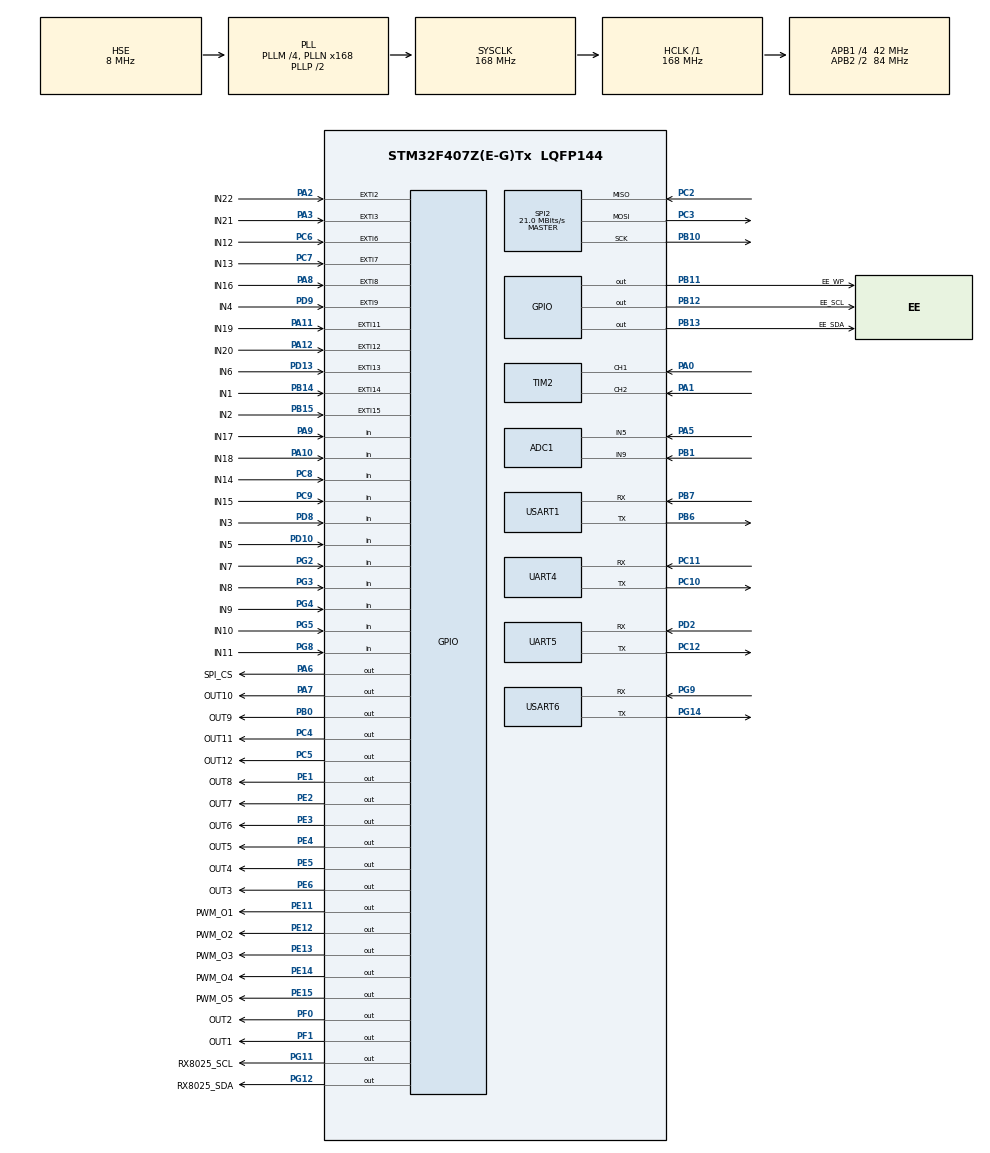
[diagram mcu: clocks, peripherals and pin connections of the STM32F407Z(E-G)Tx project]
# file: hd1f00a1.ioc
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ADC1.Channel-0\#ChannelRegularConversion=ADC_CHANNEL_5
ADC1.Channel-1\#ChannelRegularConversion=ADC_CHANNEL_9
ADC1.ClockPrescaler=ADC_CLOCK_SYNC_PCLK_DIV8
ADC1.ContinuousConvMode=DISABLE
ADC1.DMAContinuousRequests=ENABLE
ADC1.EOCSelection=ADC_EOC_SEQ_CONV
ADC1.NbrOfConversion=2
ADC1.NbrOfConversionFlag=1
ADC1.Rank-0\#ChannelRegularConversion=1
ADC1.Rank-1\#ChannelRegularConversion=2
ADC1.SamplingTime-0\#ChannelRegularConversion=ADC_SAMPLETIME_480CYCLES
ADC1.SamplingTime-1\#ChannelRegularConversion=ADC_SAMPLETIME_480CYCLES
ADC1.master=1
Dma.ADC1.1.Direction=DMA_PERIPH_TO_MEMORY
Dma.ADC1.1.FIFOMode=DMA_FIFOMODE_DISABLE
Dma.ADC1.1.Instance=DMA2_Stream0
Dma.ADC1.1.MemDataAlignment=DMA_MDATAALIGN_HALFWORD
Dma.ADC1.1.MemInc=DMA_MINC_ENABLE
Dma.ADC1.1.Mode=DMA_NORMAL
Dma.ADC1.1.PeriphDataAlignment=DMA_PDATAALIGN_HALFWORD
Dma.ADC1.1.PeriphInc=DMA_PINC_DISABLE
Dma.ADC1.1.Priority=DMA_PRIORITY_LOW
Dma.Request0=TIM8_UP
Dma.Request1=ADC1
Dma.TIM8_UP.0.Direction=DMA_MEMORY_TO_PERIPH
Dma.TIM8_UP.0.FIFOMode=DMA_FIFOMODE_DISABLE
Dma.TIM8_UP.0.Instance=DMA2_Stream1
Dma.TIM8_UP.0.MemDataAlignment=DMA_MDATAALIGN_WORD
Dma.TIM8_UP.0.MemInc=DMA_MINC_ENABLE
Dma.TIM8_UP.0.Mode=DMA_NORMAL
Dma.TIM8_UP.0.PeriphDataAlignment=DMA_PDATAALIGN_WORD
Dma.TIM8_UP.0.PeriphInc=DMA_PINC_DISABLE
Dma.TIM8_UP.0.Priority=DMA_PRIORITY_LOW
FREERTOS.INCLUDE_uxTaskGetStackHighWaterMark=1
FREERTOS.MEMORY_ALLOCATION=0
FREERTOS.Tasks01=defaultTask,0,128,StartDefaultTask,Default,NULL,Dynamic,NULL,NULL
FREERTOS.configMINIMAL_STACK_SIZE=256
FREERTOS.configTOTAL_HEAP_SIZE=0x8000
FREERTOS.configUSE_PREEMPTION=0
FREERTOS.configUSE_STATS_FORMATTING_FUNCTIONS=1
FREERTOS.configUSE_TRACE_FACILITY=1
IWDG.Prescaler=IWDG_PRESCALER_64
Mcu.Family=STM32F4
Mcu.Name=STM32F407Z(E-G)Tx
Mcu.Package=LQFP144
NVIC.DMA2_Stream0_IRQn=true\:5\:0\:false\:false\:true\:true\:false\:true\:true
NVIC.DMA2_Stream1_IRQn=true\:5\:0\:false\:false\:true\:true\:false\:true\:true
NVIC.EXTI15_10_IRQn=true\:5\:0\:false\:false\:true\:true\:true\:true\:true
NVIC.EXTI2_IRQn=true\:5\:0\:false\:false\:true\:true\:true\:true\:true
NVIC.EXTI3_IRQn=true\:5\:0\:false\:false\:true\:true\:true\:true\:true
NVIC.EXTI9_5_IRQn=true\:5\:0\:false\:false\:true\:true\:true\:true\:true
NVIC.PriorityGroup=NVIC_PRIORITYGROUP_4
NVIC.TIM1_UP_TIM10_IRQn=true\:5\:0\:false\:false\:true\:true\:true\:true\:true
NVIC.TIM2_IRQn=true\:5\:0\:false\:false\:true\:true\:true\:true\:true
NVIC.TIM3_IRQn=true\:5\:0\:false\:false\:true\:true\:true\:true\:true
NVIC.TIM4_IRQn=true\:5\:0\:false\:false\:true\:true\:true\:true\:true
NVIC.UART4_IRQn=true\:5\:0\:false\:false\:true\:true\:true\:true\:true
NVIC.UART5_IRQn=true\:5\:0\:false\:false\:true\:true\:true\:true\:true
NVIC.USART1_IRQn=true\:5\:0\:false\:false\:true\:true\:true\:true\:true
NVIC.USART6_IRQn=true\:5\:0\:false\:false\:true\:true\:true\:true\:true
PA0-WKUP.Signal=S_TIM2_CH1_ETR
PA1.Signal=S_TIM2_CH2
PA10.GPIO_Label=IN18
PA10.Signal=GPIO_Input
PA11.GPIO_Label=IN19
PA11.GPIO_ModeDefaultEXTI=GPIO_MODE_IT_FALLING
PA11.Signal=GPXTI11
PA12.GPIO_Label=IN20
PA12.GPIO_ModeDefaultEXTI=GPIO_MODE_IT_FALLING
PA12.Signal=GPXTI12
PA13.Mode=Serial_Wire
PA13.Signal=SYS_JTMS-SWDIO
PA14.Mode=Serial_Wire
PA14.Signal=SYS_JTCK-SWCLK
PA2.GPIO_Label=IN22
PA2.GPIO_ModeDefaultEXTI=GPIO_MODE_IT_FALLING
PA2.Signal=GPXTI2
PA3.GPIO_Label=IN21
PA3.GPIO_ModeDefaultEXTI=GPIO_MODE_IT_FALLING
PA3.Signal=GPXTI3
PA5.Signal=ADCx_IN5
PA6.GPIO_Label=SPI_CS
PA6.GPIO_Speed=GPIO_SPEED_FREQ_VERY_HIGH
PA6.PinState=GPIO_PIN_SET
PA6.Signal=GPIO_Output
PA7.GPIO_Label=OUT10
PA7.GPIO_Speed=GPIO_SPEED_FREQ_VERY_HIGH
PA7.Signal=GPIO_Output
PA8.GPIO_Label=IN16
PA8.GPIO_ModeDefaultEXTI=GPIO_MODE_IT_FALLING
PA8.Signal=GPXTI8
PA9.GPIO_Label=IN17
PA9.Signal=GPIO_Input
PB0.GPIO_Label=OUT9
PB0.GPIO_Speed=GPIO_SPEED_FREQ_VERY_HIGH
PB0.Signal=GPIO_Output
PB1.Signal=ADCx_IN9
PB10.Mode=Full_Duplex_Master
PB10.Signal=SPI2_SCK
PB11.GPIO_Label=EE_WP
PB11.GPIO_Speed=GPIO_SPEED_FREQ_HIGH
PB11.Signal=GPIO_Output
PB12.GPIO_Label=EE_SCL
PB12.GPIO_ModeDefaultOutputPP=GPIO_MODE_OUTPUT_OD
PB12.GPIO_PuPd=GPIO_PULLUP
PB12.GPIO_Speed=GPIO_SPEED_FREQ_VERY_HIGH
PB12.PinState=GPIO_PIN_SET
PB12.Signal=GPIO_Output
PB13.GPIO_Label=EE_SDA
PB13.GPIO_ModeDefaultOutputPP=GPIO_MODE_OUTPUT_OD
PB13.GPIO_PuPd=GPIO_PULLUP
PB13.GPIO_Speed=GPIO_SPEED_FREQ_VERY_HIGH
PB13.PinState=GPIO_PIN_SET
PB13.Signal=GPIO_Output
PB14.GPIO_Label=IN1
PB14.GPIO_ModeDefaultEXTI=GPIO_MODE_IT_FALLING
PB14.Signal=GPXTI14
PB15.GPIO_Label=IN2
PB15.GPIO_ModeDefaultEXTI=GPIO_MODE_IT_FALLING
PB15.Signal=GPXTI15
PB6.Mode=Asynchronous
PB6.Signal=USART1_TX
PB7.Mode=Asynchronous
PB7.Signal=USART1_RX
PC10.Mode=Asynchronous
PC10.Signal=UART4_TX
PC11.Mode=Asynchronous
PC11.Signal=UART4_RX
PC12.Mode=Asynchronous
PC12.Signal=UART5_TX
PC2.Mode=Full_Duplex_Master
PC2.Signal=SPI2_MISO
PC3.Mode=Full_Duplex_Master
PC3.Signal=SPI2_MOSI
PC4.GPIO_Label=OUT11
PC4.GPIO_Speed=GPIO_SPEED_FREQ_VERY_HIGH
PC4.Signal=GPIO_Output
PC5.GPIO_Label=OUT12
PC5.GPIO_Speed=GPIO_SPEED_FREQ_VERY_HIGH
PC5.Signal=GPIO_Output
PC6.GPIO_Label=IN12
PC6.GPIO_ModeDefaultEXTI=GPIO_MODE_IT_FALLING
PC6.Signal=GPXTI6
PC7.GPIO_Label=IN13
PC7.GPIO_ModeDefaultEXTI=GPIO_MODE_IT_FALLING
PC7.Signal=GPXTI7
PC8.GPIO_Label=IN14
PC8.Signal=GPIO_Input
PC9.GPIO_Label=IN15
PC9.Signal=GPIO_Input
PD10.GPIO_Label=IN5
PD10.Signal=GPIO_Input
PD13.GPIO_Label=IN6
PD13.GPIO_ModeDefaultEXTI=GPIO_MODE_IT_FALLING
PD13.Signal=GPXTI13
PD2.Mode=Asynchronous
PD2.Signal=UART5_RX
PD8.GPIO_Label=IN3
PD8.Signal=GPIO_Input
PD9.GPIO_Label=IN4
PD9.GPIO_ModeDefaultEXTI=GPIO_MODE_IT_FALLING
PD9.Signal=GPXTI9
PE1.GPIO_Label=OUT8
PE1.GPIO_Speed=GPIO_SPEED_FREQ_VERY_HIGH
PE1.Signal=GPIO_Output
PE11.GPIO_Label=PWM_O1
PE11.GPIO_Speed=GPIO_SPEED_FREQ_VERY_HIGH
PE11.PinState=GPIO_PIN_RESET
PE11.Signal=GPIO_Output
PE12.GPIO_Label=PWM_O2
PE12.GPIO_Speed=GPIO_SPEED_FREQ_VERY_HIGH
PE12.PinState=GPIO_PIN_RESET
PE12.Signal=GPIO_Output
PE13.GPIO_Label=PWM_O3
PE13.GPIO_Speed=GPIO_SPEED_FREQ_VERY_HIGH
PE13.PinState=GPIO_PIN_RESET
PE13.Signal=GPIO_Output
PE14.GPIO_Label=PWM_O4
PE14.GPIO_Speed=GPIO_SPEED_FREQ_VERY_HIGH
PE14.PinState=GPIO_PIN_RESET
PE14.Signal=GPIO_Output
PE15.GPIO_Label=PWM_O5
PE15.GPIO_Speed=GPIO_SPEED_FREQ_VERY_HIGH
PE15.PinState=GPIO_PIN_RESET
PE15.Signal=GPIO_Output
PE2.GPIO_Label=OUT7
PE2.GPIO_Speed=GPIO_SPEED_FREQ_VERY_HIGH
PE2.Signal=GPIO_Output
PE3.GPIO_Label=OUT6
PE3.GPIO_Speed=GPIO_SPEED_FREQ_VERY_HIGH
PE3.Signal=GPIO_Output
PE4.GPIO_Label=OUT5
PE4.GPIO_Speed=GPIO_SPEED_FREQ_VERY_HIGH
PE4.Signal=GPIO_Output
PE5.GPIO_Label=OUT4
PE5.GPIO_Speed=GPIO_SPEED_FREQ_VERY_HIGH
PE5.Signal=GPIO_Output
PE6.GPIO_Label=OUT3
PE6.GPIO_Speed=GPIO_SPEED_FREQ_VERY_HIGH
PE6.Signal=GPIO_Output
PF0.GPIO_Label=OUT2
PF0.GPIO_Speed=GPIO_SPEED_FREQ_VERY_HIGH
PF0.Signal=GPIO_Output
PF1.GPIO_Label=OUT1
PF1.GPIO_Speed=GPIO_SPEED_FREQ_VERY_HIGH
PF1.Signal=GPIO_Output
PF6.Signal=S_TIM10_CH1
PG11.GPIO_Label=RX8025_SCL
PG11.GPIO_ModeDefaultOutputPP=GPIO_MODE_OUTPUT_OD
PG11.GPIO_PuPd=GPIO_PULLUP
PG11.GPIO_Speed=GPIO_SPEED_FREQ_VERY_HIGH
PG11.PinState=GPIO_PIN_SET
PG11.Signal=GPIO_Output
PG12.GPIO_Label=RX8025_SDA
PG12.GPIO_ModeDefaultOutputPP=GPIO_MODE_OUTPUT_OD
PG12.GPIO_PuPd=GPIO_PULLUP
PG12.GPIO_Speed=GPIO_SPEED_FREQ_VERY_HIGH
PG12.PinState=GPIO_PIN_SET
PG12.Signal=GPIO_Output
PG14.Mode=Asynchronous
PG14.Signal=USART6_TX
PG2.GPIO_Label=IN7
PG2.Signal=GPIO_Input
PG3.GPIO_Label=IN8
PG3.Signal=GPIO_Input
PG4.GPIO_Label=IN9
PG4.Signal=GPIO_Input
PG5.GPIO_Label=IN10
PG5.Signal=GPIO_Input
PG8.GPIO_Label=IN11
PG8.Signal=GPIO_Input
PG9.Mode=Asynchronous
PG9.Signal=USART6_RX
PH0-OSC_IN.Mode=HSE-External-Oscillator
PH0-OSC_IN.Signal=RCC_OSC_IN
PH1-OSC_OUT.Mode=HSE-External-Oscillator
PH1-OSC_OUT.Signal=RCC_OSC_OUT
ProjectManager.HeapSize=0x8000
ProjectManager.StackSize=0x400
ProjectManager.TargetToolchain=MDK-ARM V5
RCC.48MHZClocksFreq_Value=84000000
RCC.AHBFreq_Value=168000000
RCC.APB1CLKDivider=RCC_HCLK_DIV4
RCC.APB1Freq_Value=42000000
RCC.APB1TimFreq_Value=84000000
RCC.APB2CLKDivider=RCC_HCLK_DIV2
RCC.APB2Freq_Value=84000000
RCC.APB2TimFreq_Value=168000000
RCC.CortexFreq_Value=168000000
RCC.HCLKFreq_Value=168000000
RCC.HSE_VALUE=8000000
RCC.HSI_VALUE=16000000
RCC.LSE_VALUE=32768
RCC.PLLM=4
RCC.PLLN=168
RCC.PLLSourceVirtual=RCC_PLLSOURCE_HSE
RCC.SYSCLKFreq_VALUE=168000000
RCC.SYSCLKSource=RCC_SYSCLKSOURCE_PLLCLK
RCC.VCOOutputFreq_Value=336000000
SH.ADCx_IN5.0=ADC1_IN5,IN5
SH.ADCx_IN9.0=ADC1_IN9,IN9
SH.S_TIM10_CH1.0=TIM10_CH1
SH.S_TIM2_CH1_ETR.0=TIM2_CH1,Encoder_Interface
SH.S_TIM2_CH2.0=TIM2_CH2,Encoder_Interface
SPI2.CalculateBaudRate=21.0 MBits/s
SPI2.Direction=SPI_DIRECTION_2LINES
SPI2.Mode=SPI_MODE_MASTER
SPI2.VirtualType=VM_MASTER
TIM1.AutoReloadPreload=TIM_AUTORELOAD_PRELOAD_ENABLE
TIM1.Period=500*8-1
TIM1.Prescaler=168/8-1
TIM10.AutoReloadPreload=TIM_AUTORELOAD_PRELOAD_ENABLE
TIM10.Period=500/2-1
TIM10.Prescaler=168-1
TIM2.AutoReloadPreload=TIM_AUTORELOAD_PRELOAD_ENABLE
TIM2.IC1Filter=4
TIM2.IC1Polarity=TIM_ICPOLARITY_RISING
TIM2.IC2Filter=4
TIM2.IC2Polarity=TIM_ICPOLARITY_RISING
TIM3.AutoReloadPreload=TIM_AUTORELOAD_PRELOAD_ENABLE
TIM3.Prescaler=168/8-1
TIM4.AutoReloadPreload=TIM_AUTORELOAD_PRELOAD_ENABLE
TIM4.Prescaler=168/8-1
TIM6.AutoReloadPreload=TIM_AUTORELOAD_PRELOAD_ENABLE
TIM6.Period=0xFFFF
TIM6.Prescaler=83
TIM8.AutoReloadPreload=TIM_AUTORELOAD_PRELOAD_ENABLE
TIM8.Prescaler=168-1
UART4.VirtualMode=Asynchronous
UART5.VirtualMode=Asynchronous
USART1.VirtualMode=VM_ASYNC
USART6.VirtualMode=VM_ASYNC
VP_FREERTOS_VS_CMSIS_V1.Mode=CMSIS_V1
VP_IWDG_VS_IWDG.Mode=IWDG_Activate
VP_TIM10_VS_ClockSourceINT.Mode=Enable_Timer
VP_TIM1_VS_ClockSourceINT.Mode=Internal
VP_TIM3_VS_ClockSourceINT.Mode=Internal
VP_TIM4_VS_ClockSourceINT.Mode=Internal
VP_TIM6_VS_ClockSourceINT.Mode=Enable_Timer
VP_TIM8_VS_ClockSourceINT.Mode=Internal
board=custom

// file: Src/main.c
/* USER CODE BEGIN Header */
/**
  ******************************************************************************
  * @file           : main.c
  * @brief          : Main program body
  ******************************************************************************
  * @attention
  *
  * <h2><center>&copy; Copyright (c) 2020 STMicroelectronics.
  * All rights reserved.</center></h2>
  *
  * This software component is licensed by ST under Ultimate Liberty license
  * SLA0044, the "License"; You may not use this file except in compliance with
  * the License. You may obtain a copy of the License at:
  *                             www.st.com/SLA0044
  *
  ******************************************************************************
  */
/* USER CODE END Header */
#include "main.h"
#include "cmsis_os.h"

/* USER CODE BEGIN Includes */
#include "protocol.h"
#include "string.h"
#include "stdio.h"
/* USER CODE END Includes */

ADC_HandleTypeDef hadc1;
DMA_HandleTypeDef hdma_adc1;

IWDG_HandleTypeDef hiwdg;

SPI_HandleTypeDef hspi2;

TIM_HandleTypeDef htim1;
TIM_HandleTypeDef htim2;
TIM_HandleTypeDef htim3;
TIM_HandleTypeDef htim4;
TIM_HandleTypeDef htim6;
TIM_HandleTypeDef htim8;
TIM_HandleTypeDef htim10;
DMA_HandleTypeDef hdma_tim8_up;

UART_HandleTypeDef huart4;
UART_HandleTypeDef huart5;
UART_HandleTypeDef huart1;
UART_HandleTypeDef huart6;

osThreadId defaultTaskHandle;

void SystemClock_Config(void);
static void MX_GPIO_Init(void);
static void MX_DMA_Init(void);
static void MX_TIM6_Init(void);
static void MX_TIM2_Init(void);
static void MX_UART4_Init(void);
static void MX_UART5_Init(void);
static void MX_USART6_UART_Init(void);
static void MX_IWDG_Init(void);
static void MX_TIM3_Init(void);
static void MX_TIM8_Init(void);
static void MX_ADC1_Init(void);
static void MX_TIM10_Init(void);
static void MX_SPI2_Init(void);
static void MX_USART1_UART_Init(void);
static void MX_TIM1_Init(void);
static void MX_TIM4_Init(void);
void StartDefaultTask(void const * argument);

int main(void)
{

  /* MCU Configuration--------------------------------------------------------*/

  /* Reset of all peripherals, Initializes the Flash interface and the Systick. */
  HAL_Init();

  /* Configure the system clock */
  SystemClock_Config();

  /* Initialize all configured peripherals */
  MX_GPIO_Init();
  MX_DMA_Init();
  MX_TIM6_Init();
  MX_TIM2_Init();
  MX_UART4_Init();
  MX_UART5_Init();
  MX_USART6_UART_Init();
  MX_TIM3_Init();
  MX_TIM8_Init();
  MX_ADC1_Init();
  MX_TIM10_Init();
  MX_SPI2_Init();
  MX_USART1_UART_Init();
  MX_TIM1_Init();
  MX_TIM4_Init();
  /* USER CODE BEGIN 2 */
#if WDG_ENABLE
  MX_IWDG_Init();
  __HAL_DBGMCU_FREEZE_IWDG();
#endif
  /* USER CODE END 2 */

  /* Create the thread(s) */
  /* definition and creation of defaultTask */
  osThreadDef(defaultTask, StartDefaultTask, osPriorityNormal, 0, 128);
  defaultTaskHandle = osThreadCreate(osThread(defaultTask), NULL);

  /* USER CODE BEGIN RTOS_THREADS */
  osThreadDef(appmaintask, AppMain, osPriorityNormal, 0, 256);
  defaultTaskHandle = osThreadCreate(osThread(appmaintask), NULL);

  /* add threads, ... */
  /* USER CODE END RTOS_THREADS */

  /* Start scheduler */
  osKernelStart();
  /* We should never get here as control is now taken by the scheduler */
  /* Infinite loop */
  while (1)
  {

  }
}

void SystemClock_Config(void)
{
  RCC_OscInitTypeDef RCC_OscInitStruct = {0};
  RCC_ClkInitTypeDef RCC_ClkInitStruct = {0};

  /** Configure the main internal regulator output voltage
  */
  __HAL_RCC_PWR_CLK_ENABLE();
  __HAL_PWR_VOLTAGESCALING_CONFIG(PWR_REGULATOR_VOLTAGE_SCALE1);

  /** Initializes the RCC Oscillators according to the specified parameters
  * in the RCC_OscInitTypeDef structure.
  */
  RCC_OscInitStruct.OscillatorType = RCC_OSCILLATORTYPE_LSI|RCC_OSCILLATORTYPE_HSE;
  RCC_OscInitStruct.HSEState = RCC_HSE_ON;
  RCC_OscInitStruct.LSIState = RCC_LSI_ON;
  RCC_OscInitStruct.PLL.PLLState = RCC_PLL_ON;
  RCC_OscInitStruct.PLL.PLLSource = RCC_PLLSOURCE_HSE;
  RCC_OscInitStruct.PLL.PLLM = 4;
  RCC_OscInitStruct.PLL.PLLN = 168;
  RCC_OscInitStruct.PLL.PLLP = RCC_PLLP_DIV2;
  RCC_OscInitStruct.PLL.PLLQ = 4;
  if (HAL_RCC_OscConfig(&RCC_OscInitStruct) != HAL_OK)
  {
    Error_Handler();
  }

  /** Initializes the CPU, AHB and APB buses clocks
  */
  RCC_ClkInitStruct.ClockType = RCC_CLOCKTYPE_HCLK|RCC_CLOCKTYPE_SYSCLK
                              |RCC_CLOCKTYPE_PCLK1|RCC_CLOCKTYPE_PCLK2;
  RCC_ClkInitStruct.SYSCLKSource = RCC_SYSCLKSOURCE_PLLCLK;
  RCC_ClkInitStruct.AHBCLKDivider = RCC_SYSCLK_DIV1;
  RCC_ClkInitStruct.APB1CLKDivider = RCC_HCLK_DIV4;
  RCC_ClkInitStruct.APB2CLKDivider = RCC_HCLK_DIV2;

  if (HAL_RCC_ClockConfig(&RCC_ClkInitStruct, FLASH_LATENCY_5) != HAL_OK)
  {
    Error_Handler();
  }
}

static void MX_ADC1_Init(void)
{

  ADC_ChannelConfTypeDef sConfig = {0};

  /** Configure the global features of the ADC (Clock, Resolution, Data Alignment and number of conversion)
  */
  hadc1.Instance = ADC1;
  hadc1.Init.ClockPrescaler = ADC_CLOCK_SYNC_PCLK_DIV8;
  hadc1.Init.Resolution = ADC_RESOLUTION_12B;
  hadc1.Init.ScanConvMode = ENABLE;
  hadc1.Init.ContinuousConvMode = DISABLE;
  hadc1.Init.DiscontinuousConvMode = DISABLE;
  hadc1.Init.ExternalTrigConvEdge = ADC_EXTERNALTRIGCONVEDGE_NONE;
  hadc1.Init.ExternalTrigConv = ADC_SOFTWARE_START;
  hadc1.Init.DataAlign = ADC_DATAALIGN_RIGHT;
  hadc1.Init.NbrOfConversion = 2;
  hadc1.Init.DMAContinuousRequests = ENABLE;
  hadc1.Init.EOCSelection = ADC_EOC_SEQ_CONV;
  if (HAL_ADC_Init(&hadc1) != HAL_OK)
  {
    Error_Handler();
  }

  /** Configure for the selected ADC regular channel its corresponding rank in the sequencer and its sample time.
  */
  sConfig.Channel = ADC_CHANNEL_5;
  sConfig.Rank = 1;
  sConfig.SamplingTime = ADC_SAMPLETIME_480CYCLES;
  if (HAL_ADC_ConfigChannel(&hadc1, &sConfig) != HAL_OK)
  {
    Error_Handler();
  }

  /** Configure for the selected ADC regular channel its corresponding rank in the sequencer and its sample time.
  */
  sConfig.Channel = ADC_CHANNEL_9;
  sConfig.Rank = 2;
  if (HAL_ADC_ConfigChannel(&hadc1, &sConfig) != HAL_OK)
  {
    Error_Handler();
  }

}

static void MX_IWDG_Init(void)
{

  hiwdg.Instance = IWDG;
  hiwdg.Init.Prescaler = IWDG_PRESCALER_64;
  hiwdg.Init.Reload = 4095;
  if (HAL_IWDG_Init(&hiwdg) != HAL_OK)
  {
    Error_Handler();
  }

}

static void MX_SPI2_Init(void)
{

  /* SPI2 parameter configuration*/
  hspi2.Instance = SPI2;
  hspi2.Init.Mode = SPI_MODE_MASTER;
  hspi2.Init.Direction = SPI_DIRECTION_2LINES;
  hspi2.Init.DataSize = SPI_DATASIZE_8BIT;
  hspi2.Init.CLKPolarity = SPI_POLARITY_LOW;
  hspi2.Init.CLKPhase = SPI_PHASE_1EDGE;
  hspi2.Init.NSS = SPI_NSS_SOFT;
  hspi2.Init.BaudRatePrescaler = SPI_BAUDRATEPRESCALER_2;
  hspi2.Init.FirstBit = SPI_FIRSTBIT_MSB;
  hspi2.Init.TIMode = SPI_TIMODE_DISABLE;
  hspi2.Init.CRCCalculation = SPI_CRCCALCULATION_DISABLE;
  hspi2.Init.CRCPolynomial = 10;
  if (HAL_SPI_Init(&hspi2) != HAL_OK)
  {
    Error_Handler();
  }

}

static void MX_TIM1_Init(void)
{

  TIM_ClockConfigTypeDef sClockSourceConfig = {0};
  TIM_MasterConfigTypeDef sMasterConfig = {0};

  htim1.Instance = TIM1;
  htim1.Init.Prescaler = 168/8-1;
  htim1.Init.CounterMode = TIM_COUNTERMODE_UP;
  htim1.Init.Period = 500*8-1;
  htim1.Init.ClockDivision = TIM_CLOCKDIVISION_DIV1;
  htim1.Init.RepetitionCounter = 0;
  htim1.Init.AutoReloadPreload = TIM_AUTORELOAD_PRELOAD_ENABLE;
  if (HAL_TIM_Base_Init(&htim1) != HAL_OK)
  {
    Error_Handler();
  }
  sClockSourceConfig.ClockSource = TIM_CLOCKSOURCE_INTERNAL;
  if (HAL_TIM_ConfigClockSource(&htim1, &sClockSourceConfig) != HAL_OK)
  {
    Error_Handler();
  }
  sMasterConfig.MasterOutputTrigger = TIM_TRGO_RESET;
  sMasterConfig.MasterSlaveMode = TIM_MASTERSLAVEMODE_DISABLE;
  if (HAL_TIMEx_MasterConfigSynchronization(&htim1, &sMasterConfig) != HAL_OK)
  {
    Error_Handler();
  }

}

static void MX_TIM2_Init(void)
{

  TIM_Encoder_InitTypeDef sConfig = {0};
  TIM_MasterConfigTypeDef sMasterConfig = {0};

  htim2.Instance = TIM2;
  htim2.Init.Prescaler = 0;
  htim2.Init.CounterMode = TIM_COUNTERMODE_UP;
  htim2.Init.Period = 4294967295;
  htim2.Init.ClockDivision = TIM_CLOCKDIVISION_DIV1;
  htim2.Init.AutoReloadPreload = TIM_AUTORELOAD_PRELOAD_ENABLE;
  sConfig.EncoderMode = TIM_ENCODERMODE_TI1;
  sConfig.IC1Polarity = TIM_ICPOLARITY_RISING;
  sConfig.IC1Selection = TIM_ICSELECTION_DIRECTTI;
  sConfig.IC1Prescaler = TIM_ICPSC_DIV1;
  sConfig.IC1Filter = 4;
  sConfig.IC2Polarity = TIM_ICPOLARITY_RISING;
  sConfig.IC2Selection = TIM_ICSELECTION_DIRECTTI;
  sConfig.IC2Prescaler = TIM_ICPSC_DIV1;
  sConfig.IC2Filter = 4;
  if (HAL_TIM_Encoder_Init(&htim2, &sConfig) != HAL_OK)
  {
    Error_Handler();
  }
  sMasterConfig.MasterOutputTrigger = TIM_TRGO_RESET;
  sMasterConfig.MasterSlaveMode = TIM_MASTERSLAVEMODE_DISABLE;
  if (HAL_TIMEx_MasterConfigSynchronization(&htim2, &sMasterConfig) != HAL_OK)
  {
    Error_Handler();
  }
  /* USER CODE BEGIN TIM2_Init 2 */
  HAL_TIM_Base_Start(&htim2);
  /* USER CODE END TIM2_Init 2 */

}

static void MX_TIM3_Init(void)
{

  TIM_ClockConfigTypeDef sClockSourceConfig = {0};
  TIM_MasterConfigTypeDef sMasterConfig = {0};

  htim3.Instance = TIM3;
  htim3.Init.Prescaler = 168/8-1;
  htim3.Init.CounterMode = TIM_COUNTERMODE_UP;
  htim3.Init.Period = 65535;
  htim3.Init.ClockDivision = TIM_CLOCKDIVISION_DIV1;
  htim3.Init.AutoReloadPreload = TIM_AUTORELOAD_PRELOAD_ENABLE;
  if (HAL_TIM_Base_Init(&htim3) != HAL_OK)
  {
    Error_Handler();
  }
  sClockSourceConfig.ClockSource = TIM_CLOCKSOURCE_INTERNAL;
  if (HAL_TIM_ConfigClockSource(&htim3, &sClockSourceConfig) != HAL_OK)
  {
    Error_Handler();
  }
  sMasterConfig.MasterOutputTrigger = TIM_TRGO_RESET;
  sMasterConfig.MasterSlaveMode = TIM_MASTERSLAVEMODE_DISABLE;
  if (HAL_TIMEx_MasterConfigSynchronization(&htim3, &sMasterConfig) != HAL_OK)
  {
    Error_Handler();
  }

}

static void MX_TIM4_Init(void)
{

  TIM_ClockConfigTypeDef sClockSourceConfig = {0};
  TIM_MasterConfigTypeDef sMasterConfig = {0};

  htim4.Instance = TIM4;
  htim4.Init.Prescaler = 168/8-1;
  htim4.Init.CounterMode = TIM_COUNTERMODE_UP;
  htim4.Init.Period = 65535;
  htim4.Init.ClockDivision = TIM_CLOCKDIVISION_DIV1;
  htim4.Init.AutoReloadPreload = TIM_AUTORELOAD_PRELOAD_ENABLE;
  if (HAL_TIM_Base_Init(&htim4) != HAL_OK)
  {
    Error_Handler();
  }
  sClockSourceConfig.ClockSource = TIM_CLOCKSOURCE_INTERNAL;
  if (HAL_TIM_ConfigClockSource(&htim4, &sClockSourceConfig) != HAL_OK)
  {
    Error_Handler();
  }
  sMasterConfig.MasterOutputTrigger = TIM_TRGO_RESET;
  sMasterConfig.MasterSlaveMode = TIM_MASTERSLAVEMODE_DISABLE;
  if (HAL_TIMEx_MasterConfigSynchronization(&htim4, &sMasterConfig) != HAL_OK)
  {
    Error_Handler();
  }

}

static void MX_TIM6_Init(void)
{

  TIM_MasterConfigTypeDef sMasterConfig = {0};

  htim6.Instance = TIM6;
  htim6.Init.Prescaler = 83;
  htim6.Init.CounterMode = TIM_COUNTERMODE_UP;
  htim6.Init.Period = 0xFFFF;
  htim6.Init.AutoReloadPreload = TIM_AUTORELOAD_PRELOAD_ENABLE;
  if (HAL_TIM_Base_Init(&htim6) != HAL_OK)
  {
    Error_Handler();
  }
  sMasterConfig.MasterOutputTrigger = TIM_TRGO_RESET;
  sMasterConfig.MasterSlaveMode = TIM_MASTERSLAVEMODE_DISABLE;
  if (HAL_TIMEx_MasterConfigSynchronization(&htim6, &sMasterConfig) != HAL_OK)
  {
    Error_Handler();
  }
  /* USER CODE BEGIN TIM6_Init 2 */
  HAL_TIM_Base_Start(&htim6);
  /* USER CODE END TIM6_Init 2 */

}

static void MX_TIM8_Init(void)
{

  TIM_ClockConfigTypeDef sClockSourceConfig = {0};
  TIM_MasterConfigTypeDef sMasterConfig = {0};

  htim8.Instance = TIM8;
  htim8.Init.Prescaler = 168-1;
  htim8.Init.CounterMode = TIM_COUNTERMODE_UP;
  htim8.Init.Period = 65535;
  htim8.Init.ClockDivision = TIM_CLOCKDIVISION_DIV1;
  htim8.Init.RepetitionCounter = 0;
  htim8.Init.AutoReloadPreload = TIM_AUTORELOAD_PRELOAD_ENABLE;
  if (HAL_TIM_Base_Init(&htim8) != HAL_OK)
  {
    Error_Handler();
  }
  sClockSourceConfig.ClockSource = TIM_CLOCKSOURCE_INTERNAL;
  if (HAL_TIM_ConfigClockSource(&htim8, &sClockSourceConfig) != HAL_OK)
  {
    Error_Handler();
  }
  sMasterConfig.MasterOutputTrigger = TIM_TRGO_RESET;
  sMasterConfig.MasterSlaveMode = TIM_MASTERSLAVEMODE_DISABLE;
  if (HAL_TIMEx_MasterConfigSynchronization(&htim8, &sMasterConfig) != HAL_OK)
  {
    Error_Handler();
  }

}

static void MX_TIM10_Init(void)
{

  htim10.Instance = TIM10;
  htim10.Init.Prescaler = 168-1;
  htim10.Init.CounterMode = TIM_COUNTERMODE_UP;
  htim10.Init.Period = 500/2-1;
  htim10.Init.ClockDivision = TIM_CLOCKDIVISION_DIV1;
  htim10.Init.AutoReloadPreload = TIM_AUTORELOAD_PRELOAD_ENABLE;
  if (HAL_TIM_Base_Init(&htim10) != HAL_OK)
  {
    Error_Handler();
  }

}

static void MX_UART4_Init(void)
{

  huart4.Instance = UART4;
  huart4.Init.BaudRate = 115200;
  huart4.Init.WordLength = UART_WORDLENGTH_8B;
  huart4.Init.StopBits = UART_STOPBITS_1;
  huart4.Init.Parity = UART_PARITY_NONE;
  huart4.Init.Mode = UART_MODE_TX_RX;
  huart4.Init.HwFlowCtl = UART_HWCONTROL_NONE;
  huart4.Init.OverSampling = UART_OVERSAMPLING_16;
  if (HAL_UART_Init(&huart4) != HAL_OK)
  {
    Error_Handler();
  }

}

static void MX_UART5_Init(void)
{

  huart5.Instance = UART5;
  huart5.Init.BaudRate = 115200;
  huart5.Init.WordLength = UART_WORDLENGTH_8B;
  huart5.Init.StopBits = UART_STOPBITS_1;
  huart5.Init.Parity = UART_PARITY_NONE;
  huart5.Init.Mode = UART_MODE_TX_RX;
  huart5.Init.HwFlowCtl = UART_HWCONTROL_NONE;
  huart5.Init.OverSampling = UART_OVERSAMPLING_16;
  if (HAL_UART_Init(&huart5) != HAL_OK)
  {
    Error_Handler();
  }

}

static void MX_USART1_UART_Init(void)
{

  huart1.Instance = USART1;
  huart1.Init.BaudRate = 115200;
  huart1.Init.WordLength = UART_WORDLENGTH_8B;
  huart1.Init.StopBits = UART_STOPBITS_1;
  huart1.Init.Parity = UART_PARITY_NONE;
  huart1.Init.Mode = UART_MODE_TX_RX;
  huart1.Init.HwFlowCtl = UART_HWCONTROL_NONE;
  huart1.Init.OverSampling = UART_OVERSAMPLING_16;
  if (HAL_UART_Init(&huart1) != HAL_OK)
  {
    Error_Handler();
  }

}

static void MX_USART6_UART_Init(void)
{

  huart6.Instance = USART6;
  huart6.Init.BaudRate = 115200;
  huart6.Init.WordLength = UART_WORDLENGTH_8B;
  huart6.Init.StopBits = UART_STOPBITS_1;
  huart6.Init.Parity = UART_PARITY_NONE;
  huart6.Init.Mode = UART_MODE_TX_RX;
  huart6.Init.HwFlowCtl = UART_HWCONTROL_NONE;
  huart6.Init.OverSampling = UART_OVERSAMPLING_16;
  if (HAL_UART_Init(&huart6) != HAL_OK)
  {
    Error_Handler();
  }

}

static void MX_DMA_Init(void)
{

  /* DMA controller clock enable */
  __HAL_RCC_DMA2_CLK_ENABLE();

  /* DMA interrupt init */
  /* DMA2_Stream0_IRQn interrupt configuration */
  HAL_NVIC_SetPriority(DMA2_Stream0_IRQn, 5, 0);
  HAL_NVIC_EnableIRQ(DMA2_Stream0_IRQn);
  /* DMA2_Stream1_IRQn interrupt configuration */
  HAL_NVIC_SetPriority(DMA2_Stream1_IRQn, 5, 0);
  HAL_NVIC_EnableIRQ(DMA2_Stream1_IRQn);

}

static void MX_GPIO_Init(void)
{
  GPIO_InitTypeDef GPIO_InitStruct = {0};

  /* GPIO Ports Clock Enable */
  __HAL_RCC_GPIOE_CLK_ENABLE();
  __HAL_RCC_GPIOF_CLK_ENABLE();
  __HAL_RCC_GPIOH_CLK_ENABLE();
  __HAL_RCC_GPIOC_CLK_ENABLE();
  __HAL_RCC_GPIOA_CLK_ENABLE();
  __HAL_RCC_GPIOB_CLK_ENABLE();
  __HAL_RCC_GPIOD_CLK_ENABLE();
  __HAL_RCC_GPIOG_CLK_ENABLE();

  /*Configure GPIO pin Output Level */
  HAL_GPIO_WritePin(GPIOE, OUT7_Pin|OUT6_Pin|OUT5_Pin|OUT4_Pin
                          |OUT3_Pin|PWM_O1_Pin|PWM_O2_Pin|PWM_O3_Pin
                          |PWM_O4_Pin|PWM_O5_Pin|OUT8_Pin, GPIO_PIN_RESET);

  /*Configure GPIO pin Output Level */
  HAL_GPIO_WritePin(GPIOF, OUT2_Pin|OUT1_Pin, GPIO_PIN_RESET);

  /*Configure GPIO pin Output Level */
  HAL_GPIO_WritePin(SPI_CS_GPIO_Port, SPI_CS_Pin, GPIO_PIN_SET);

  /*Configure GPIO pin Output Level */
  HAL_GPIO_WritePin(OUT10_GPIO_Port, OUT10_Pin, GPIO_PIN_RESET);

  /*Configure GPIO pin Output Level */
  HAL_GPIO_WritePin(GPIOC, OUT11_Pin|OUT12_Pin, GPIO_PIN_RESET);

  /*Configure GPIO pin Output Level */
  HAL_GPIO_WritePin(GPIOB, OUT9_Pin|EE_WP_Pin, GPIO_PIN_RESET);

  /*Configure GPIO pin Output Level */
  HAL_GPIO_WritePin(GPIOB, EE_SCL_Pin|EE_SDA_Pin, GPIO_PIN_SET);

  /*Configure GPIO pin Output Level */
  HAL_GPIO_WritePin(GPIOG, RX8025_SCL_Pin|RX8025_SDA_Pin, GPIO_PIN_SET);

  /*Configure GPIO pins : OUT7_Pin OUT6_Pin OUT5_Pin OUT4_Pin
                           OUT3_Pin PWM_O1_Pin PWM_O2_Pin PWM_O3_Pin
                           PWM_O4_Pin PWM_O5_Pin OUT8_Pin */
  GPIO_InitStruct.Pin = OUT7_Pin|OUT6_Pin|OUT5_Pin|OUT4_Pin
                          |OUT3_Pin|PWM_O1_Pin|PWM_O2_Pin|PWM_O3_Pin
                          |PWM_O4_Pin|PWM_O5_Pin|OUT8_Pin;
  GPIO_InitStruct.Mode = GPIO_MODE_OUTPUT_PP;
  GPIO_InitStruct.Pull = GPIO_NOPULL;
  GPIO_InitStruct.Speed = GPIO_SPEED_FREQ_VERY_HIGH;
  HAL_GPIO_Init(GPIOE, &GPIO_InitStruct);

  /*Configure GPIO pins : OUT2_Pin OUT1_Pin */
  GPIO_InitStruct.Pin = OUT2_Pin|OUT1_Pin;
  GPIO_InitStruct.Mode = GPIO_MODE_OUTPUT_PP;
  GPIO_InitStruct.Pull = GPIO_NOPULL;
  GPIO_InitStruct.Speed = GPIO_SPEED_FREQ_VERY_HIGH;
  HAL_GPIO_Init(GPIOF, &GPIO_InitStruct);

  /*Configure GPIO pins : IN22_Pin IN21_Pin IN16_Pin IN19_Pin
                           IN20_Pin */
  GPIO_InitStruct.Pin = IN22_Pin|IN21_Pin|IN16_Pin|IN19_Pin
                          |IN20_Pin;
  GPIO_InitStruct.Mode = GPIO_MODE_IT_FALLING;
  GPIO_InitStruct.Pull = GPIO_NOPULL;
  HAL_GPIO_Init(GPIOA, &GPIO_InitStruct);

  /*Configure GPIO pins : SPI_CS_Pin OUT10_Pin */
  GPIO_InitStruct.Pin = SPI_CS_Pin|OUT10_Pin;
  GPIO_InitStruct.Mode = GPIO_MODE_OUTPUT_PP;
  GPIO_InitStruct.Pull = GPIO_NOPULL;
  GPIO_InitStruct.Speed = GPIO_SPEED_FREQ_VERY_HIGH;
  HAL_GPIO_Init(GPIOA, &GPIO_InitStruct);

  /*Configure GPIO pins : OUT11_Pin OUT12_Pin */
  GPIO_InitStruct.Pin = OUT11_Pin|OUT12_Pin;
  GPIO_InitStruct.Mode = GPIO_MODE_OUTPUT_PP;
  GPIO_InitStruct.Pull = GPIO_NOPULL;
  GPIO_InitStruct.Speed = GPIO_SPEED_FREQ_VERY_HIGH;
  HAL_GPIO_Init(GPIOC, &GPIO_InitStruct);

  /*Configure GPIO pin : OUT9_Pin */
  GPIO_InitStruct.Pin = OUT9_Pin;
  GPIO_InitStruct.Mode = GPIO_MODE_OUTPUT_PP;
  GPIO_InitStruct.Pull = GPIO_NOPULL;
  GPIO_InitStruct.Speed = GPIO_SPEED_FREQ_VERY_HIGH;
  HAL_GPIO_Init(OUT9_GPIO_Port, &GPIO_InitStruct);

  /*Configure GPIO pin : EE_WP_Pin */
  GPIO_InitStruct.Pin = EE_WP_Pin;
  GPIO_InitStruct.Mode = GPIO_MODE_OUTPUT_PP;
  GPIO_InitStruct.Pull = GPIO_NOPULL;
  GPIO_InitStruct.Speed = GPIO_SPEED_FREQ_HIGH;
  HAL_GPIO_Init(EE_WP_GPIO_Port, &GPIO_InitStruct);

  /*Configure GPIO pins : EE_SCL_Pin EE_SDA_Pin */
  GPIO_InitStruct.Pin = EE_SCL_Pin|EE_SDA_Pin;
  GPIO_InitStruct.Mode = GPIO_MODE_OUTPUT_OD;
  GPIO_InitStruct.Pull = GPIO_PULLUP;
  GPIO_InitStruct.Speed = GPIO_SPEED_FREQ_VERY_HIGH;
  HAL_GPIO_Init(GPIOB, &GPIO_InitStruct);

  /*Configure GPIO pins : IN1_Pin IN2_Pin */
  GPIO_InitStruct.Pin = IN1_Pin|IN2_Pin;
  GPIO_InitStruct.Mode = GPIO_MODE_IT_FALLING;
  GPIO_InitStruct.Pull = GPIO_NOPULL;
  HAL_GPIO_Init(GPIOB, &GPIO_InitStruct);

  /*Configure GPIO pins : IN3_Pin IN5_Pin */
  GPIO_InitStruct.Pin = IN3_Pin|IN5_Pin;
  GPIO_InitStruct.Mode = GPIO_MODE_INPUT;
  GPIO_InitStruct.Pull = GPIO_NOPULL;
  HAL_GPIO_Init(GPIOD, &GPIO_InitStruct);

  /*Configure GPIO pins : IN4_Pin IN6_Pin */
  GPIO_InitStruct.Pin = IN4_Pin|IN6_Pin;
  GPIO_InitStruct.Mode = GPIO_MODE_IT_FALLING;
  GPIO_InitStruct.Pull = GPIO_NOPULL;
  HAL_GPIO_Init(GPIOD, &GPIO_InitStruct);

  /*Configure GPIO pins : IN7_Pin IN8_Pin IN9_Pin IN10_Pin
                           IN11_Pin */
  GPIO_InitStruct.Pin = IN7_Pin|IN8_Pin|IN9_Pin|IN10_Pin
                          |IN11_Pin;
  GPIO_InitStruct.Mode = GPIO_MODE_INPUT;
  GPIO_InitStruct.Pull = GPIO_NOPULL;
  HAL_GPIO_Init(GPIOG, &GPIO_InitStruct);

  /*Configure GPIO pins : IN12_Pin IN13_Pin */
  GPIO_InitStruct.Pin = IN12_Pin|IN13_Pin;
  GPIO_InitStruct.Mode = GPIO_MODE_IT_FALLING;
  GPIO_InitStruct.Pull = GPIO_NOPULL;
  HAL_GPIO_Init(GPIOC, &GPIO_InitStruct);

  /*Configure GPIO pins : IN14_Pin IN15_Pin */
  GPIO_InitStruct.Pin = IN14_Pin|IN15_Pin;
  GPIO_InitStruct.Mode = GPIO_MODE_INPUT;
  GPIO_InitStruct.Pull = GPIO_NOPULL;
  HAL_GPIO_Init(GPIOC, &GPIO_InitStruct);

  /*Configure GPIO pins : IN17_Pin IN18_Pin */
  GPIO_InitStruct.Pin = IN17_Pin|IN18_Pin;
  GPIO_InitStruct.Mode = GPIO_MODE_INPUT;
  GPIO_InitStruct.Pull = GPIO_NOPULL;
  HAL_GPIO_Init(GPIOA, &GPIO_InitStruct);

  /*Configure GPIO pins : RX8025_SCL_Pin RX8025_SDA_Pin */
  GPIO_InitStruct.Pin = RX8025_SCL_Pin|RX8025_SDA_Pin;
  GPIO_InitStruct.Mode = GPIO_MODE_OUTPUT_OD;
  GPIO_InitStruct.Pull = GPIO_PULLUP;
  GPIO_InitStruct.Speed = GPIO_SPEED_FREQ_VERY_HIGH;
  HAL_GPIO_Init(GPIOG, &GPIO_InitStruct);

  /* EXTI interrupt init*/
  HAL_NVIC_SetPriority(EXTI2_IRQn, 5, 0);
  HAL_NVIC_EnableIRQ(EXTI2_IRQn);

  HAL_NVIC_SetPriority(EXTI3_IRQn, 5, 0);
  HAL_NVIC_EnableIRQ(EXTI3_IRQn);

  HAL_NVIC_SetPriority(EXTI9_5_IRQn, 5, 0);
  HAL_NVIC_EnableIRQ(EXTI9_5_IRQn);

  HAL_NVIC_SetPriority(EXTI15_10_IRQn, 5, 0);
  HAL_NVIC_EnableIRQ(EXTI15_10_IRQn);

}

/* USER CODE BEGIN 4 */
uint8_t pcWriteBuffer[512], StackPrint;
/* USER CODE END 4 */

void StartDefaultTask(void const * argument)
{
  /* USER CODE BEGIN 5 */
    StackPrint = 0;
    osDelay(1000);
  /* Infinite loop */
  for(;;)
  {
#if WDG_ENABLE
       HAL_IWDG_Refresh(&hiwdg);
#endif
       if (StackPrint) {
           osDelay(2000);
           printf("\033[2J\033[0;0H"); // 清屏指令
           printf("============================\r\n");
           printf("\033[33;1m\r\n任务名\t\t状态\t优先级\t剩余栈\t序号\033[37;0m\r\n");
           vTaskList((char *)pcWriteBuffer);
           printf("%s\r\n\r\n\r\n", pcWriteBuffer);
       }
    osDelay(200);
  }
  /* USER CODE END 5 */
}

void Error_Handler(void)
{
}
